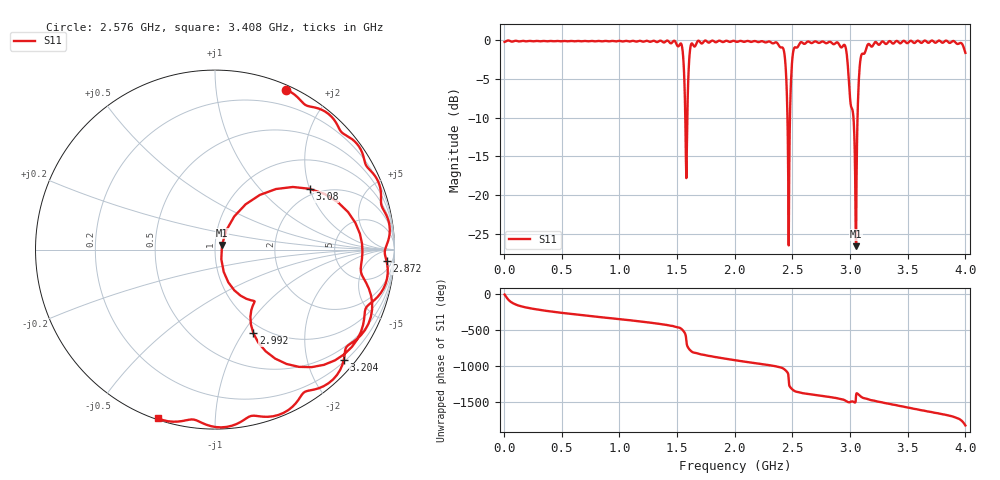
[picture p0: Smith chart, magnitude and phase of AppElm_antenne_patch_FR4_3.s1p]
! TOUCHSTONE file generated by CST MICROWAVE STUDIO
! Date and time: Tue Jun 14 12:33:45 2022
! Project name: AppElm_antenne_patch_FR4.cst
! Parameters = {L=45; W=58.5; e=0.035; h=1.6; lambda=0.190476; ls=120; w0=2.54; w1=0.7199; ws=120; y0=18; y1=23.8}
! Header version: 2018
! Port assignment regex: !\s*Touchstone port\s*([0-9]+)\s*=\s*(CST MWS port|CST DS port)\s*([0-9]+|Zmin|Zmax)\s*\(\"(.*)\"\)(\s*mode\s*([0-9]+))?.*
! Touchstone port assignment:
! Touchstone port 1 = CST MWS port 1 ("")
# GHz S MA R 50
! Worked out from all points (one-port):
!   1000 points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, 4 MHz to 4 GHz, reference 50 ohm
!   lowest |S11| = -26.6 dB at 3.052 GHz (marker M1), VSWR 1.10, Z = 54 + j2.79 ohm
!   |S11| at or under -10 dB: 1.571 GHz to 1.588 GHz (17.35 MHz wide, 1.1 % of centre); 2.457 GHz to 2.479 GHz (21.97 MHz wide, 0.89 % of centre); 3.029 GHz to 3.065 GHz (35.47 MHz wide, 1.16 % of centre)
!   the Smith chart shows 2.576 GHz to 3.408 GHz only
!   S11 on the Smith chart (normalised r, x): 2.576 GHz: 0.04, +1.54; 2.872 GHz: 14, -21; 2.992 GHz: 0.88, -1.12; 3.08 GHz: 1.79, +2.00; 3.204 GHz: 0.23, -2.68; 3.408 GHz: 0.01, -0.72
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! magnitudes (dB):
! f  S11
! 4 MHz  -0.2
! 504 MHz  -0.1
! 1.004 GHz  -0.1
! 1.504 GHz  -0.7
! 1.54 GHz  -0.6
! 1.58 GHz  -17.8
! 1.632 GHz  -0.4
! 2.004 GHz  -0.1
! 2.412 GHz  -0.9
! 2.432 GHz  -1.9
! 2.452 GHz  -7.1
! 2.468 GHz  -26.5
! 2.484 GHz  -6.8
! 2.504 GHz  -1.7
! 2.576 GHz  -0.2
! 2.872 GHz  -0.4
! 2.956 GHz  -0.7
! 2.992 GHz  -5.8
! 3.004 GHz  -8.1
! 3.036 GHz  -12.0
! 3.052 GHz  -26.6
! 3.064 GHz  -10.3
! 3.08 GHz  -4.1
! 3.104 GHz  -1.7
! 3.204 GHz  -0.5
! 3.408 GHz  -0.1
! 3.504 GHz  -0.3
! 4 GHz  -1.6
